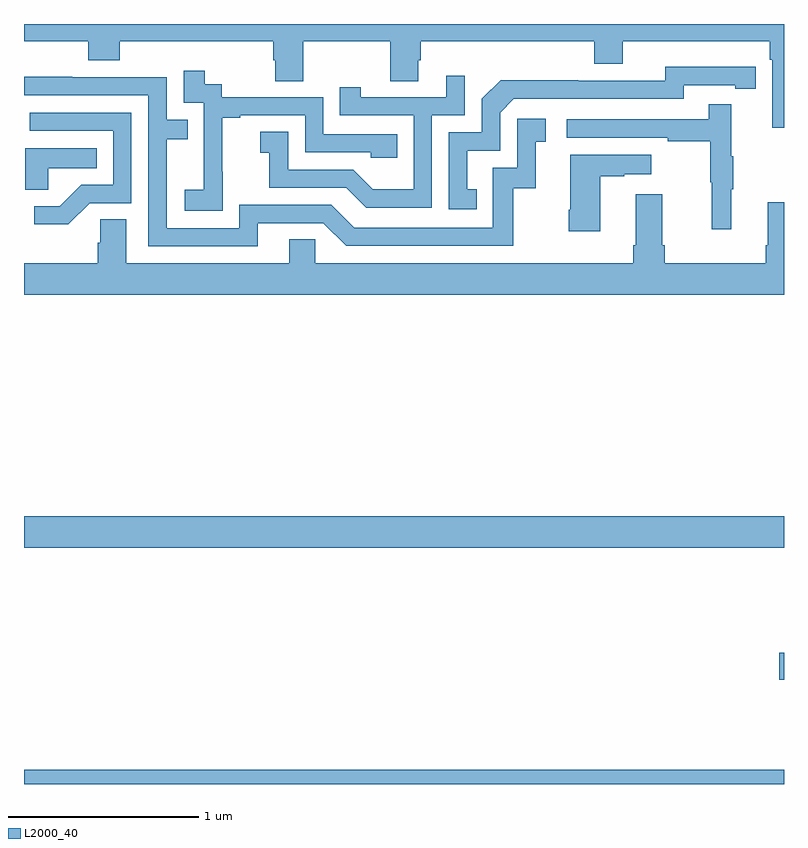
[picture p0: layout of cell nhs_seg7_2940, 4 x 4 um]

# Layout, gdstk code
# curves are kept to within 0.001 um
import gdstk
lib = gdstk.Library(unit=1e-6, precision=1e-09)
def R(c, l, rs):  # rectangles x0, y0, x1, y1
    for r in rs: c.add(gdstk.rectangle(r[:2], r[2:], *l))
def P(c, l, *ps):  # polygons
    for p in ps: c.add(gdstk.Polygon(p, *l))
L2000_40 = (2000, 40)

nhs_seg7_2940 = lib.new_cell('nhs_seg7_2940')
R(nhs_seg7_2940, L2000_40, [(299,1038,303,1038.076), (302.976,1038.55,303,1038.692), (299,1039.244,303,1039.408)])
P(nhs_seg7_2940, L2000_40, [(303,1042),(299,1042),(299,1041.908),(299.339,1041.908),(299.339,1041.809),(299.504,1041.809),(299.504,1041.908),(300.311,1041.908),(300.311,1041.81),(300.323,1041.81),(300.323,1041.7),(300.471,1041.7),(300.471,1041.908),(300.928,1041.908),(300.928,1041.7),(301.075,1041.7),(301.075,1041.81),(301.088,1041.81),(301.088,1041.908),(302,1041.908),(302,1041.791),(302.152,1041.791),(302.152,1041.908),(302.924,1041.908),(302.924,1041.812),(302.937,1041.812),(302.937,1041.453),(303,1041.453)],
  [(301.382,1041.129),(301.333,1041.129),(301.333,1041.333),(301.506,1041.333),(301.506,1041.534),(301.578,1041.606),(302.472,1041.606),(302.472,1041.678),(302.744,1041.678),(302.744,1041.658),(302.852,1041.658),(302.852,1041.774),(302.376,1041.775),(302.376,1041.702),(301.916,1041.702),(301.916,1041.704),(301.508,1041.704),(301.41,1041.606),(301.41,1041.429),(301.236,1041.429),(301.236,1041.024),(301.382,1041.024)],
  [(300.045,1041.223),(300.044,1041.223),(300.044,1041.507),(300.139,1041.507),(300.139,1041.519),(300.48,1041.519),(300.48,1041.324),(300.825,1041.324),(300.825,1041.297),(300.965,1041.297),(300.965,1041.42),(300.576,1041.42),(300.576,1041.615),(300.042,1041.615),(300.042,1041.684),(299.95,1041.684),(299.95,1041.754),(299.841,1041.754),(299.841,1041.585),(299.946,1041.585),(299.946,1041.356),(299.945,1041.356),(299.945,1041.127),(299.847,1041.127),(299.847,1041.017),(300.045,1041.017)],
  [(301.146,1041.519),(301.32,1041.519),(301.32,1041.727),(301.223,1041.727),(301.223,1041.615),(300.772,1041.615),(300.772,1041.667),(300.661,1041.667),(300.661,1041.519),(301.05,1041.519),(301.05,1041.13),(300.836,1041.13),(300.732,1041.234),(300.39,1041.234),(300.39,1041.433),(300.243,1041.433),(300.243,1041.323),(300.292,1041.323),(300.292,1041.138),(300.695,1041.138),(300.8,1041.033),(301.146,1041.033)],
  [(300.229,1040.952),(300.576,1040.952),(300.696,1040.832),(301.576,1040.832),(301.576,1041.135),(301.694,1041.135),(301.694,1041.381),(301.747,1041.381),(301.747,1041.502),(301.596,1041.502),(301.596,1041.243),(301.467,1041.243),(301.467,1040.928),(300.738,1040.928),(300.618,1041.048),(300.132,1041.048),(300.132,1040.925),(299.751,1040.925),(299.751,1041.394),(299.861,1041.394),(299.861,1041.495),(299.751,1041.495),(299.751,1041.72),(299.255,1041.72),(299.255,1041.722),(299,1041.722),(299,1041.624),(299.655,1041.624),(299.655,1040.829),(300.229,1040.829)],
  [(302.723,1041.131),(302.734,1041.131),(302.734,1041.305),(302.723,1041.305),(302.723,1041.577),(302.605,1041.577),(302.605,1041.498),(301.857,1041.498),(301.857,1041.402),(302.389,1041.402),(302.389,1041.382),(302.613,1041.382),(302.613,1041.168),(302.62,1041.168),(302.62,1040.919),(302.723,1040.919)],
  [(299.346,1041.057),(299.565,1041.057),(299.565,1041.534),(299.031,1041.534),(299.031,1041.438),(299.469,1041.438),(299.469,1041.153),(299.3,1041.153),(299.189,1041.042),(299.055,1041.042),(299.055,1040.945),(299.233,1040.945)],
  [(299.127,1041.242),(299.384,1041.242),(299.384,1041.346),(299.006,1041.346),(299.006,1041.127),(299.127,1041.127)],
  [(302.032,1041.199),(302.159,1041.199),(302.159,1041.209),(302.302,1041.209),(302.302,1041.313),(301.874,1041.313),(301.874,1041.022),(301.867,1041.022),(301.867,1040.91),(302.032,1040.91)],
  [(303,1041.061),(302.915,1041.061),(302.915,1040.836),(302.903,1040.836),(302.903,1040.74),(302.372,1040.74),(302.372,1040.836),(302.359,1040.836),(302.359,1041.103),(302.219,1041.103),(302.219,1040.836),(302.207,1040.836),(302.207,1040.74),(300.534,1040.74),(300.534,1040.867),(300.395,1040.867),(300.395,1040.74),(299.539,1040.74),(299.539,1040.972),(299.4,1040.972),(299.4,1040.849),(299.387,1040.849),(299.387,1040.74),(299,1040.74),(299,1040.576),(303,1040.576)])

lib.write_gds('nhs_seg7_2940.gds')
